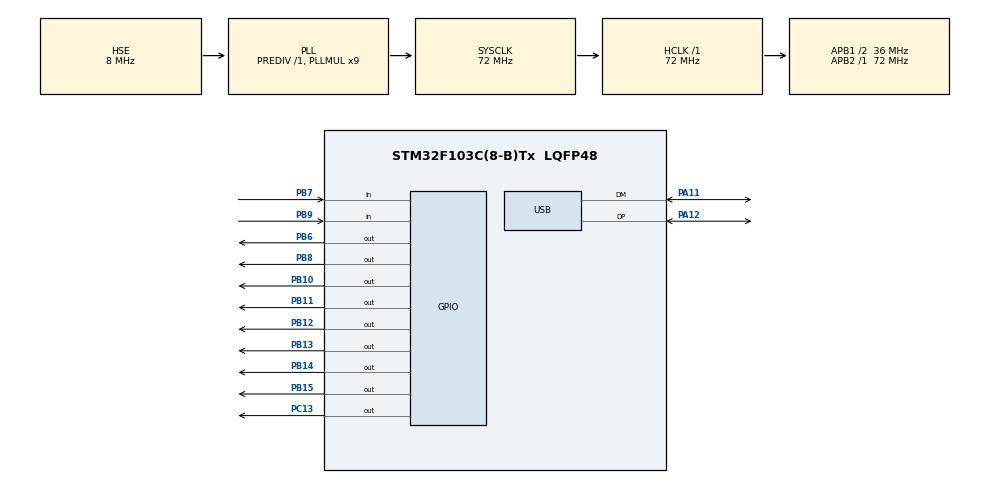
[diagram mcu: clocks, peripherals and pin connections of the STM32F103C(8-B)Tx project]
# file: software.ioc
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FREERTOS.Tasks01=defaultTask,24,128,StartDefaultTask,Default,NULL,Static,defaultTaskBuffer,defaultTaskControlBlock;KeyTask,40,128,KeyTaskFunc,Default,NULL,Static,KeyTaskBuffer,KeyTaskControlBlock;lcdTask,16,192,lcdTaskFunc,Default,NULL,Static,lcdTaskBuffer,lcdTaskControlBlock;calculatorTask,8,512,calculatorTaskFunc,Default,NULL,Static,claculatorTaskBuffer,claculatorTaskControlBlock;controllerTask,24,256,controllerTaskFunc,Default,NULL,Static,controllerTaskBuffer,controllerTaskControlBlock
FREERTOS.configCHECK_FOR_STACK_OVERFLOW=0
FREERTOS.configTIMER_TASK_STACK_DEPTH=128
FREERTOS.configTOTAL_HEAP_SIZE=1024
FREERTOS.configUSE_MALLOC_FAILED_HOOK=1
Mcu.Family=STM32F1
Mcu.Name=STM32F103C(8-B)Tx
Mcu.Package=LQFP48
NVIC.PriorityGroup=NVIC_PRIORITYGROUP_4
NVIC.TIM4_IRQn=true\:15\:0\:false\:false\:true\:false\:false\:true\:true
NVIC.TimeBase=TIM4_IRQn
NVIC.TimeBaseIP=TIM4
NVIC.USB_LP_CAN1_RX0_IRQn=true\:5\:0\:false\:false\:true\:true\:true\:true\:true
PA11.Mode=Device
PA11.Signal=USB_DM
PA12.Mode=Device
PA12.Signal=USB_DP
PA13.Mode=Serial_Wire
PA13.Signal=SYS_JTMS-SWDIO
PA14.Mode=Serial_Wire
PA14.Signal=SYS_JTCK-SWCLK
PB10.Signal=GPIO_Output
PB11.Signal=GPIO_Output
PB12.Signal=GPIO_Output
PB13.PinState=GPIO_PIN_RESET
PB13.Signal=GPIO_Output
PB14.Signal=GPIO_Output
PB15.Signal=GPIO_Output
PB6.PinState=GPIO_PIN_SET
PB6.Signal=GPIO_Output
PB7.Signal=GPIO_Input
PB8.GPIO_Speed=GPIO_SPEED_FREQ_LOW
PB8.PinState=GPIO_PIN_SET
PB8.Signal=GPIO_Output
PB9.Signal=GPIO_Input
PC13-TAMPER-RTC.PinState=GPIO_PIN_SET
PC13-TAMPER-RTC.Signal=GPIO_Output
PC14-OSC32_IN.Mode=LSE-External-Oscillator
PC14-OSC32_IN.Signal=RCC_OSC32_IN
PC15-OSC32_OUT.Mode=LSE-External-Oscillator
PC15-OSC32_OUT.Signal=RCC_OSC32_OUT
PD0-OSC_IN.Mode=HSE-External-Oscillator
PD0-OSC_IN.Signal=RCC_OSC_IN
PD1-OSC_OUT.Mode=HSE-External-Oscillator
PD1-OSC_OUT.Signal=RCC_OSC_OUT
ProjectManager.HeapSize=0x0
ProjectManager.StackSize=0x400
ProjectManager.TargetToolchain=CMake
RCC.AHBFreq_Value=72000000
RCC.APB1CLKDivider=RCC_HCLK_DIV2
RCC.APB1Freq_Value=36000000
RCC.APB1TimFreq_Value=72000000
RCC.APB2Freq_Value=72000000
RCC.APB2TimFreq_Value=72000000
RCC.HCLKFreq_Value=72000000
RCC.PLLMUL=RCC_PLL_MUL9
RCC.PLLSourceVirtual=RCC_PLLSOURCE_HSE
RCC.SYSCLKFreq_VALUE=72000000
RCC.SYSCLKSource=RCC_SYSCLKSOURCE_PLLCLK
RCC.USBFreq_Value=48000000
RCC.USBPrescaler=RCC_USBCLKSOURCE_PLL_DIV1_5
TIM3.Prescaler=71
USB_DEVICE.APP_RX_DATA_SIZE=128
USB_DEVICE.APP_TX_DATA_SIZE=128
USB_DEVICE.CLASS_NAME_FS=CDC
USB_DEVICE.USBD_MAX_STR_DESC_SIZ=64
USB_DEVICE.VirtualMode=Cdc
USB_DEVICE.VirtualModeFS=Cdc_FS
VP_FREERTOS_VS_CMSIS_V2.Mode=CMSIS_V2
VP_SYS_VS_tim4.Mode=TIM4
VP_TIM3_VS_ClockSourceINT.Mode=Internal
VP_USB_DEVICE_VS_USB_DEVICE_CDC_FS.Mode=CDC_FS
board=custom

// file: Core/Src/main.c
/* USER CODE BEGIN Header */
/**
 ******************************************************************************
 * @file           : main.c
 * @brief          : Main program body
 ******************************************************************************
 * @attention
 *
 * Copyright (c) 2026 STMicroelectronics.
 * All rights reserved.
 *
 * This software is licensed under terms that can be found in the LICENSE file
 * in the root directory of this software component.
 * If no LICENSE file comes with this software, it is provided AS-IS.
 *
 ******************************************************************************
 */
/* USER CODE END Header */
#include "main.h"
#include "cmsis_os.h"
#include "tim.h"
#include "usb_device.h"
#include "gpio.h"

/* USER CODE BEGIN Includes */
#include "screen.h"
/* USER CODE END Includes */

void SystemClock_Config(void);
void MX_FREERTOS_Init(void);

int main(void)
{

  /* MCU Configuration--------------------------------------------------------*/

  /* Reset of all peripherals, Initializes the Flash interface and the Systick. */
  HAL_Init();

  /* Configure the system clock */
  SystemClock_Config();

  /* Initialize all configured peripherals */
  MX_GPIO_Init();
  MX_TIM3_Init();
  /* USER CODE BEGIN 2 */
    HAL_TIM_Base_Start(&htim3);
  /* USER CODE END 2 */

  /* Init scheduler */
  osKernelInitialize();

  /* Call init function for freertos objects (in cmsis_os2.c) */
  MX_FREERTOS_Init();

  /* Start scheduler */
  osKernelStart();

  /* We should never get here as control is now taken by the scheduler */

  /* Infinite loop */
    while (1)
    {

    }
}

void SystemClock_Config(void)
{
  RCC_OscInitTypeDef RCC_OscInitStruct = {0};
  RCC_ClkInitTypeDef RCC_ClkInitStruct = {0};
  RCC_PeriphCLKInitTypeDef PeriphClkInit = {0};

  /** Initializes the RCC Oscillators according to the specified parameters
  * in the RCC_OscInitTypeDef structure.
  */
  RCC_OscInitStruct.OscillatorType = RCC_OSCILLATORTYPE_HSE;
  RCC_OscInitStruct.HSEState = RCC_HSE_ON;
  RCC_OscInitStruct.HSEPredivValue = RCC_HSE_PREDIV_DIV1;
  RCC_OscInitStruct.HSIState = RCC_HSI_ON;
  RCC_OscInitStruct.PLL.PLLState = RCC_PLL_ON;
  RCC_OscInitStruct.PLL.PLLSource = RCC_PLLSOURCE_HSE;
  RCC_OscInitStruct.PLL.PLLMUL = RCC_PLL_MUL9;
  if (HAL_RCC_OscConfig(&RCC_OscInitStruct) != HAL_OK)
  {
    Error_Handler();
  }

  /** Initializes the CPU, AHB and APB buses clocks
  */
  RCC_ClkInitStruct.ClockType = RCC_CLOCKTYPE_HCLK|RCC_CLOCKTYPE_SYSCLK
                              |RCC_CLOCKTYPE_PCLK1|RCC_CLOCKTYPE_PCLK2;
  RCC_ClkInitStruct.SYSCLKSource = RCC_SYSCLKSOURCE_PLLCLK;
  RCC_ClkInitStruct.AHBCLKDivider = RCC_SYSCLK_DIV1;
  RCC_ClkInitStruct.APB1CLKDivider = RCC_HCLK_DIV2;
  RCC_ClkInitStruct.APB2CLKDivider = RCC_HCLK_DIV1;

  if (HAL_RCC_ClockConfig(&RCC_ClkInitStruct, FLASH_LATENCY_2) != HAL_OK)
  {
    Error_Handler();
  }
  PeriphClkInit.PeriphClockSelection = RCC_PERIPHCLK_USB;
  PeriphClkInit.UsbClockSelection = RCC_USBCLKSOURCE_PLL_DIV1_5;
  if (HAL_RCCEx_PeriphCLKConfig(&PeriphClkInit) != HAL_OK)
  {
    Error_Handler();
  }
}

void HAL_TIM_PeriodElapsedCallback(TIM_HandleTypeDef *htim)
{
  if (htim->Instance == TIM4) {
    HAL_IncTick();
  }
}

void Error_Handler(void)
{
    __disable_irq();
    while (1)
    {
    }
}

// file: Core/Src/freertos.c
/* USER CODE BEGIN Header */
/**
 ******************************************************************************
 * File Name          : freertos.c
 * Description        : Code for freertos applications
 ******************************************************************************
 * @attention
 *
 * Copyright (c) 2026 STMicroelectronics.
 * All rights reserved.
 *
 * This software is licensed under terms that can be found in the LICENSE file
 * in the root directory of this software component.
 * If no LICENSE file comes with this software, it is provided AS-IS.
 *
 ******************************************************************************
 */
/* USER CODE END Header */

#include "FreeRTOS.h"
#include "task.h"
#include "main.h"
#include "cmsis_os.h"

/* USER CODE BEGIN Includes */
#include "screen.h"
#include "keypad.h"
#include "touch_filter.h"
#include "touch_model.h"
#include "app.h"
/* USER CODE END Includes */

typedef StaticTask_t osStaticThreadDef_t;

/* Definitions for defaultTask */
osThreadId_t defaultTaskHandle;
/* 512 -> 1024 字节：这个任务现在要周期跑 usb_poll()，里面会调
 * osMessageQueuePut()（CMSIS-RTOS2 包装层 + FreeRTOS 队列代码用栈不小），
 * 512 字节太紧，栈溢出会静默破坏相邻内存。
 * 注意：CubeMX 重新生成代码时这行会被改回 128。 */
uint32_t defaultTaskBuffer[256];
osStaticThreadDef_t defaultTaskControlBlock;
const osThreadAttr_t defaultTask_attributes = {
    .name = "defaultTask",
    .cb_mem = &defaultTaskControlBlock,
    .cb_size = sizeof(defaultTaskControlBlock),
    .stack_mem = &defaultTaskBuffer[0],
    .stack_size = sizeof(defaultTaskBuffer),
    .priority = (osPriority_t)osPriorityNormal,
};
/* Definitions for KeyTask */
osThreadId_t KeyTaskHandle;
uint32_t KeyTaskBuffer[128];
osStaticThreadDef_t KeyTaskControlBlock;
const osThreadAttr_t KeyTask_attributes = {
    .name = "KeyTask",
    .cb_mem = &KeyTaskControlBlock,
    .cb_size = sizeof(KeyTaskControlBlock),
    .stack_mem = &KeyTaskBuffer[0],
    .stack_size = sizeof(KeyTaskBuffer),
    .priority = (osPriority_t)osPriorityHigh,
};
/* Definitions for lcdTask */
osThreadId_t lcdTaskHandle;
uint32_t lcdTaskBuffer[192];
osStaticThreadDef_t lcdTaskControlBlock;
const osThreadAttr_t lcdTask_attributes = {
    .name = "lcdTask",
    .cb_mem = &lcdTaskControlBlock,
    .cb_size = sizeof(lcdTaskControlBlock),
    .stack_mem = &lcdTaskBuffer[0],
    .stack_size = sizeof(lcdTaskBuffer),
    .priority = (osPriority_t)osPriorityBelowNormal,
};
/* Definitions for calculatorTask */
osThreadId_t calculatorTaskHandle;
uint32_t claculatorTaskBuffer[512];
osStaticThreadDef_t claculatorTaskControlBlock;
const osThreadAttr_t calculatorTask_attributes = {
    .name = "calculatorTask",
    .cb_mem = &claculatorTaskControlBlock,
    .cb_size = sizeof(claculatorTaskControlBlock),
    .stack_mem = &claculatorTaskBuffer[0],
    .stack_size = sizeof(claculatorTaskBuffer),
    .priority = (osPriority_t)osPriorityLow,
};
/* Definitions for controllerTask */
osThreadId_t controllerTaskHandle;
uint32_t controllerTaskBuffer[256];
osStaticThreadDef_t controllerTaskControlBlock;
const osThreadAttr_t controllerTask_attributes = {
    .name = "controllerTask",
    .cb_mem = &controllerTaskControlBlock,
    .cb_size = sizeof(controllerTaskControlBlock),
    .stack_mem = &controllerTaskBuffer[0],
    .stack_size = sizeof(controllerTaskBuffer),
    .priority = (osPriority_t)osPriorityNormal,
};

void StartDefaultTask(void *argument);
void KeyTaskFunc(void *argument);
void lcdTaskFunc(void *argument);
void calculatorTaskFunc(void *argument);
void controllerTaskFunc(void *argument);

extern void MX_USB_DEVICE_Init(void);
void MX_FREERTOS_Init(void); /* (MISRA C 2004 rule 8.1) */

/* Hook prototypes */
void vApplicationMallocFailedHook(void);

/* USER CODE BEGIN 5 */
void vApplicationMallocFailedHook(void)
{
    /* vApplicationMallocFailedHook() will only be called if
    configUSE_MALLOC_FAILED_HOOK is set to 1 in FreeRTOSConfig.h. It is a hook
    function that will get called if a call to pvPortMalloc() fails.
    pvPortMalloc() is called internally by the kernel whenever a task, queue,
    timer or semaphore is created. It is also called by various parts of the
    demo application. If heap_1.c or heap_2.c are used, then the size of the
    heap available to pvPortMalloc() is defined by configTOTAL_HEAP_SIZE in
    FreeRTOSConfig.h, and the xPortGetFreeHeapSize() API function can be used
    to query the size of free heap space that remains (although it does not
    provide information on how the remaining heap might be fragmented). */
}
/* USER CODE END 5 */

void MX_FREERTOS_Init(void)
{

    /* USER CODE BEGIN RTOS_QUEUES */
    /* add queues, ... */
    app_init();
    /* USER CODE END RTOS_QUEUES */

    /* Create the thread(s) */
    /* creation of defaultTask */
    defaultTaskHandle = osThreadNew(StartDefaultTask, NULL, &defaultTask_attributes);

    /* creation of KeyTask */
    KeyTaskHandle = osThreadNew(KeyTaskFunc, NULL, &KeyTask_attributes);

    /* creation of lcdTask */
    lcdTaskHandle = osThreadNew(lcdTaskFunc, NULL, &lcdTask_attributes);

    /* creation of calculatorTask */
    calculatorTaskHandle = osThreadNew(calculatorTaskFunc, NULL, &calculatorTask_attributes);

    /* creation of controllerTask */
    controllerTaskHandle = osThreadNew(controllerTaskFunc, NULL, &controllerTask_attributes);

}

void StartDefaultTask(void *argument)
{
    /* init code for USB_DEVICE */
    MX_USB_DEVICE_Init();
    /* USER CODE BEGIN StartDefaultTask */
    (void)argument;
    app_heartbeat_task();
    /* USER CODE END StartDefaultTask */
}

void KeyTaskFunc(void *argument)
{
    /* USER CODE BEGIN KeyTaskFunc */
    (void)argument;
    app_key_task();
    /* USER CODE END KeyTaskFunc */
}

void lcdTaskFunc(void *argument)
{
    /* USER CODE BEGIN lcdTaskFunc */
    (void)argument;
    app_lcd_task();
    /* USER CODE END lcdTaskFunc */
}

void calculatorTaskFunc(void *argument)
{
    /* USER CODE BEGIN calculatorTaskFunc */
    (void)argument;
    app_compute_task();
    /* USER CODE END calculatorTaskFunc */
}

void controllerTaskFunc(void *argument)
{
    /* USER CODE BEGIN controllerTaskFunc */
    (void)argument;
    app_controller_task();
    /* USER CODE END controllerTaskFunc */
}
